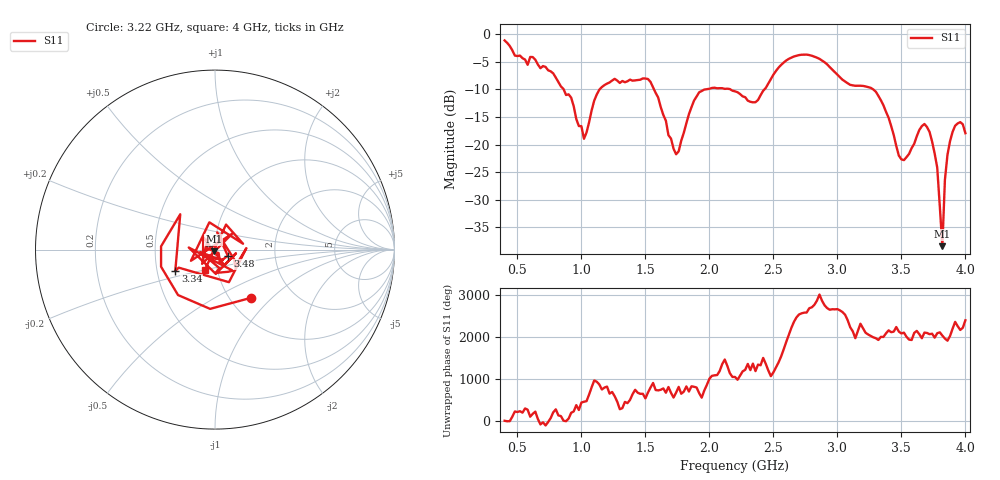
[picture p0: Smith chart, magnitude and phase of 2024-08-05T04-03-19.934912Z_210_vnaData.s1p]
!Created with skrf (http://scikit-rf.org).
# Hz S RI R 50.0
!freq ReS11 ImS11
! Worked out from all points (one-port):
!   181 points, 400 MHz to 4 GHz, reference 50 ohm
!   lowest |S11| = -38.4 dB at 3.82 GHz (marker M1), VSWR 1.02, Z = 49.4 - j1 ohm
!   |S11| at or under -10 dB: 861 MHz to 1.143 GHz (281.8 MHz wide, 28.1 % of centre); 1.567 GHz to 1.976 GHz (408.6 MHz wide, 23.1 % of centre); 3.278 GHz to end of sweep (the widest 3 of 4)
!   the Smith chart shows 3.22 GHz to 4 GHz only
!   S11 on the Smith chart (normalised r, x): 3.22 GHz: 1.25, -0.76; 3.34 GHz: 0.62, -0.16; 3.48 GHz: 1.15, -0.08; 4 GHz: 0.87, -0.20
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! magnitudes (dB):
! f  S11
! 400 MHz  -1.2
! 860 MHz  -9.9
! 920 MHz  -11.5
! 1.02 GHz  -19.0
! 1.14 GHz  -10.1
! 1.3 GHz  -8.9
! 1.54 GHz  -8.7
! 1.72 GHz  -20.8
! 1.76 GHz  -21.2
! 1.84 GHz  -14.5
! 1.92 GHz  -10.5
! 2.2 GHz  -10.4
! 2.36 GHz  -12.3
! 2.66 GHz  -4.1
! 2.86 GHz  -4.5
! 3.1 GHz  -9.2
! 3.22 GHz  -9.5
! 3.34 GHz  -12.0
! 3.48 GHz  -22.0
! 3.56 GHz  -21.7
! 3.66 GHz  -16.7
! 3.72 GHz  -17.7
! 3.78 GHz  -24.2
! 3.82 GHz  -38.4
! 3.84 GHz  -26.4
! 3.88 GHz  -19.4
! 3.94 GHz  -16.2
! 4 GHz  -17.9
